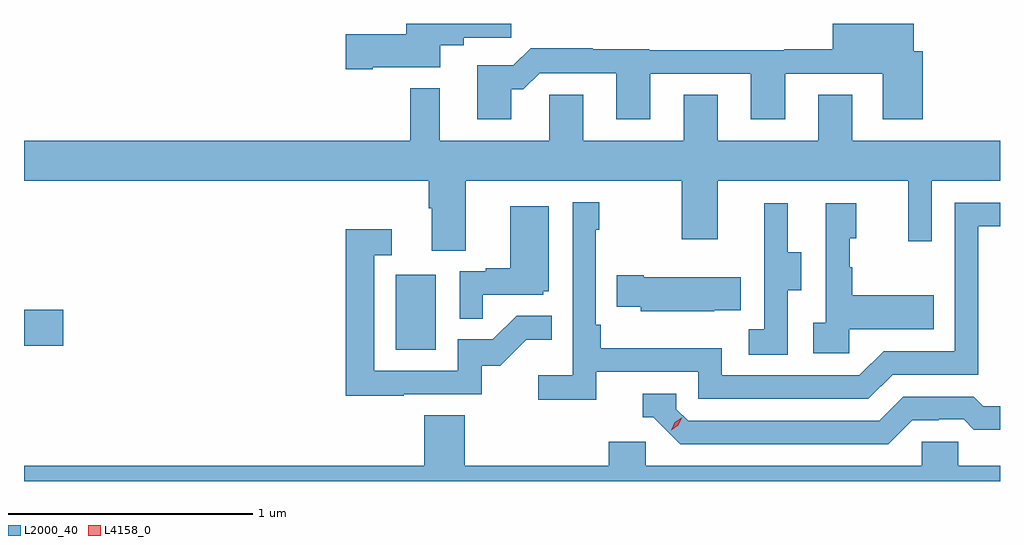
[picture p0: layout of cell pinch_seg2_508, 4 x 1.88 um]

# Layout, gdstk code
import gdstk
lib = gdstk.Library(unit=1e-6, precision=1e-09)
def R(c, l, rs):  # rectangles x0, y0, x1, y1
    for r in rs: c.add(gdstk.rectangle(r[:2], r[2:], *l))
def P(c, l, *ps):  # polygons
    for p in ps: c.add(gdstk.Polygon(p, *l))
L2000_40 = (2000, 40)
L4158_0 = (4158, 0)

pinch_seg2_508 = lib.new_cell('pinch_seg2_508')
R(pinch_seg2_508, L2000_40, [(998.264,584.34,998.428,584.647), (996.74,584.357,996.901,584.504)])
P(pinch_seg2_508, L2000_40, [(998.17,585.497),(998.446,585.497),(998.446,585.587),(998.542,585.587),(998.542,585.619),(998.737,585.619),(998.737,585.677),(998.306,585.677),(998.306,585.632),(998.058,585.632),(998.058,585.49),(998.17,585.49)],
  [(998.737,585.407),(998.786,585.407),(998.853,585.474),(999.167,585.474),(999.167,585.285),(999.307,585.285),(999.307,585.471),(999.719,585.471),(999.719,585.285),(999.859,585.285),(999.859,585.471),(1000.259,585.471),(1000.259,585.285),(1000.424,585.285),(1000.424,585.564),(1000.387,585.564),(1000.387,585.677),(1000.055,585.677),(1000.055,585.572),(999.855,585.572),(999.855,585.568),(999.303,585.568),(999.303,585.572),(999.071,585.572),(999.071,585.575),(998.816,585.575),(998.746,585.505),(998.597,585.505),(998.597,585.285),(998.737,585.285)],
  [(998.551,585.032),(999.436,585.032),(999.436,584.793),(999.583,584.793),(999.583,585.032),(1000.364,585.032),(1000.364,584.784),(1000.461,584.784),(1000.461,585.032),(1000.74,585.032),(1000.74,585.196),(1000.135,585.196),(1000.135,585.386),(999.995,585.386),(999.995,585.196),(999.583,585.196),(999.583,585.386),(999.443,585.386),(999.443,585.196),(999.031,585.196),(999.031,585.386),(998.892,585.386),(998.892,585.196),(998.443,585.196),(998.443,585.412),(998.322,585.412),(998.322,585.196),(996.74,585.196),(996.74,585.032),(998.399,585.032),(998.399,584.92),(998.411,584.92),(998.411,584.746),(998.551,584.746)],
  [(999.086,584.25),(999.504,584.25),(999.504,584.139),(1000.201,584.139),(1000.3,584.238),(1000.65,584.238),(1000.65,584.847),(1000.74,584.847),(1000.74,584.943),(1000.554,584.943),(1000.554,584.334),(1000.263,584.334),(1000.164,584.235),(999.6,584.235),(999.6,584.347),(999.104,584.347),(999.104,584.443),(999.084,584.443),(999.084,584.831),(999.097,584.831),(999.097,584.944),(998.988,584.944),(998.988,584.236),(998.847,584.236),(998.847,584.134),(999.086,584.134)],
  [(999.87,584.584),(999.925,584.584),(999.925,584.739),(999.871,584.739),(999.871,584.941),(999.773,584.941),(999.773,584.727),(999.774,584.727),(999.774,584.423),(999.711,584.423),(999.711,584.32),(999.87,584.32)],
  [(1000.122,584.423),(1000.469,584.423),(1000.469,584.563),(1000.135,584.563),(1000.135,584.678),(1000.125,584.678),(1000.125,584.796),(1000.15,584.796),(1000.15,584.941),(1000.026,584.941),(1000.026,584.45),(999.975,584.45),(999.975,584.325),(1000.122,584.325)],
  [(998.621,584.565),(998.868,584.565),(998.868,584.58),(998.89,584.58),(998.89,584.929),(998.732,584.929),(998.732,584.674),(998.633,584.674),(998.633,584.661),(998.526,584.661),(998.526,584.467),(998.621,584.467)],
  [(998.297,584.157),(998.616,584.157),(998.616,584.274),(998.692,584.274),(998.799,584.381),(998.903,584.381),(998.903,584.48),(998.759,584.48),(998.661,584.382),(998.517,584.382),(998.517,584.253),(998.175,584.253),(998.175,584.727),(998.248,584.727),(998.248,584.833),(998.059,584.833),(998.059,584.152),(998.297,584.152)],
  [(999.569,584.501),(999.677,584.501),(999.677,584.638),(999.28,584.638),(999.28,584.646),(999.169,584.646),(999.169,584.516),(999.267,584.516),(999.267,584.498),(999.569,584.498)],
  [(1000.381,584.052),(1000.488,584.052),(1000.488,584.055),(1000.591,584.055),(1000.633,584.013),(1000.74,584.013),(1000.74,584.109),(1000.672,584.109),(1000.633,584.148),(1000.344,584.148),(1000.245,584.049),(999.462,584.049),(999.414,584.097),(999.414,584.16),(999.275,584.16),(999.275,584.064),(999.318,584.064),(999.429,583.953),(1000.282,583.953)],
  [(1000.74,583.864),(1000.569,583.864),(1000.569,583.962),(1000.419,583.962),(1000.419,583.864),(999.288,583.864),(999.288,583.962),(999.137,583.962),(999.137,583.864),(998.546,583.864),(998.546,584.072),(998.381,584.072),(998.381,583.864),(996.74,583.864),(996.74,583.8),(1000.74,583.8)])
P(pinch_seg2_508, L4158_0, [(999.392,584.01),(999.392,584.01),(999.407,584.043),(999.438,584.063),(999.438,584.063),(999.438,584.063),(999.422,584.03),(999.392,584.01)])

lib.write_gds('pinch_seg2_508.gds')
